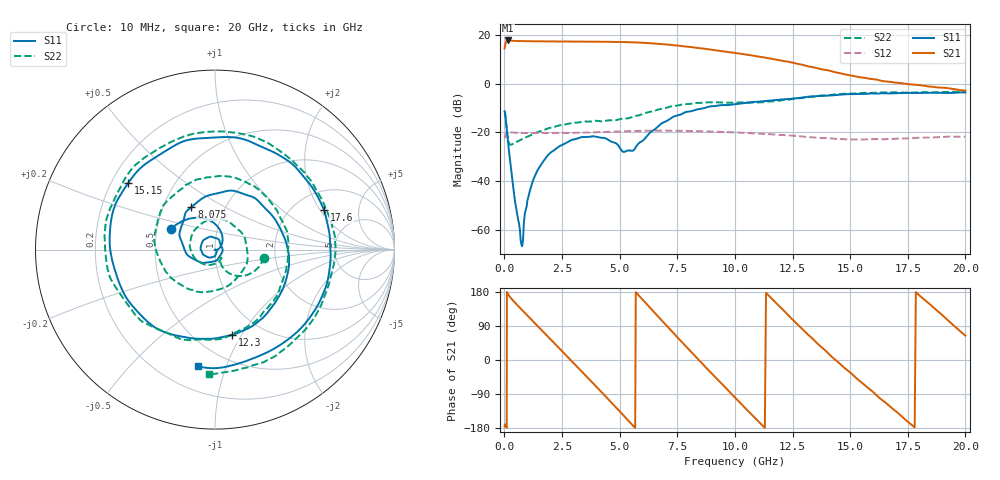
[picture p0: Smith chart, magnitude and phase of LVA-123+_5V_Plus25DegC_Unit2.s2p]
!Mini-Circuits Laboratory
!Date: 7/15/2015 at 12:41:14 PM
!S2P DATA File Format
!Type: MMIC Amplifier
!Model: LVA-123+
!S/N: Unit 2
!Fixture: Unit soldered on TB-841+, no port extension
!PIN OUT: PORT 1 - PIN 2, PORT 2 - PIN 5, GROUND - PADDLE, NOT CONNECTED - ALL OTHER PINS
!TEST CONDITIONS: Temp= 25 (Deg C) RF Power= -25.00 (dBm) V limit=5(V) I limit=150(mA) Z=50 OHM
!PROD RUN: Q16010, DATE CODE: 1527
!WAFER/LOT#: BH175P001-02-01EV
!Network Analyzer: PNA-X N5242A S/N 71404 CAL DUE: 12/5/2015
!P.Supply/Multimeter: HP E3632A S/N 63249 CAL DUE: 12/11/2015
# Hz  S  dB  R  50
!Frequency  S11 dB  S11 Deg  S21 dB  S21 Deg  S12 dB  S12 Deg  S22 dB  S22 Deg
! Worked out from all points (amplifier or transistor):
!   660 points, 10 MHz to 20 GHz, reference 50 ohm
!   highest |S21| = 17.7 dB at 170 MHz (marker M1)
!   |S21| within 3 dB of that: 14.87 MHz to 8.334 GHz (8.319 GHz wide, 199 % of centre)
!   unconditionally stable (mu >= 1): start of sweep to 5.703 GHz; 9.643 GHz to end of sweep
!   at 1.275 GHz: K = 1.05, MAG = 17.4 dB, |S12| = -20.2 dB
!   at 6.775 GHz: K = 0.99, MSG = 17.7 dB, |S12| = -19.2 dB
!   at 20 GHz: K = 2.11, MAG = 3.4 dB, |S12| = -21.7 dB
!   S11 on the Smith chart (normalised r, x): 10 MHz: 0.60, +0.15; 8.075 GHz: 0.69, +0.35; 12.3 GHz: 0.73, -0.91; 15.15 GHz: 0.27, +0.32; 17.6 GHz: 2.88, +2.17; 20 GHz: 0.35, -0.80
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1e7  -11.41 154.4  14.45 -175.2  -22.37 6.9  -11.10 -9.1
1.7e8  -25.05 43.9  17.68 172.6  -19.82 -5.9  -23.21 -64.4
7.4e8  -65.79 151.1  17.41 133.6  -20.18 -36.3  -22.90 -76.1
1e9  -47.72 -15.9  17.38 117.2  -20.21 -49.4  -21.71 -95.9
1.6e9  -33.07 -72.2  17.32 79.7  -20.23 -77.5  -19.39 -136.0
2.525e9  -25.01 -129.2  17.25 21.9  -20.19 -121.8  -16.85 165.6
3.35e9  -21.90 177.7  17.20 -29.8  -20.07 -161.4  -15.66 113.4
4.35e9  -22.30 109.5  17.14 -93.4  -19.81 150.0  -15.39 40.6
5.35e9  -27.43 -1.7  16.99 -158.1  -19.47 100.0  -14.21 -44.5
5.975e9  -23.55 -96.2  16.76 160.7  -19.31 67.8  -12.56 -97.2
6.675e9  -17.48 -158.1  16.33 114.5  -19.24 31.4  -10.61 -150.3
7.3e9  -13.70 160.9  15.80 73.4  -19.27 -1.4  -9.21 166.5
8.075e9  -11.35 119.1  14.99 23.3  -19.39 -41.7  -8.29 120.2
9.175e9  -9.14 62.3  13.64 -46.9  -19.69 -98.9  -7.69 61.4
1.005e10  -8.41 20.6  12.49 -101.8  -20.00 -144.8  -7.74 20.4
1.11e10  -7.30 -24.4  10.98 -167.0  -20.46 162.1  -7.69 -21.6
1.23e10  -6.30 -78.5  9.00 119.1  -21.16 101.0  -6.56 -70.6
1.335e10  -5.22 -129.0  6.77 57.4  -21.99 49.7  -5.45 -116.9
1.515e10  -4.30 142.4  3.15 -41.5  -22.85 -33.9  -4.07 155.8
1.67e10  -4.03 64.9  0.80 -121.1  -22.68 -106.1  -3.59 78.7
1.76e10  -3.79 19.9  -0.28 -167.5  -22.38 -149.8  -3.65 33.5
2e10  -3.64 -98.3  -2.93 64.2  -21.72 86.8  -3.18 -93.0
